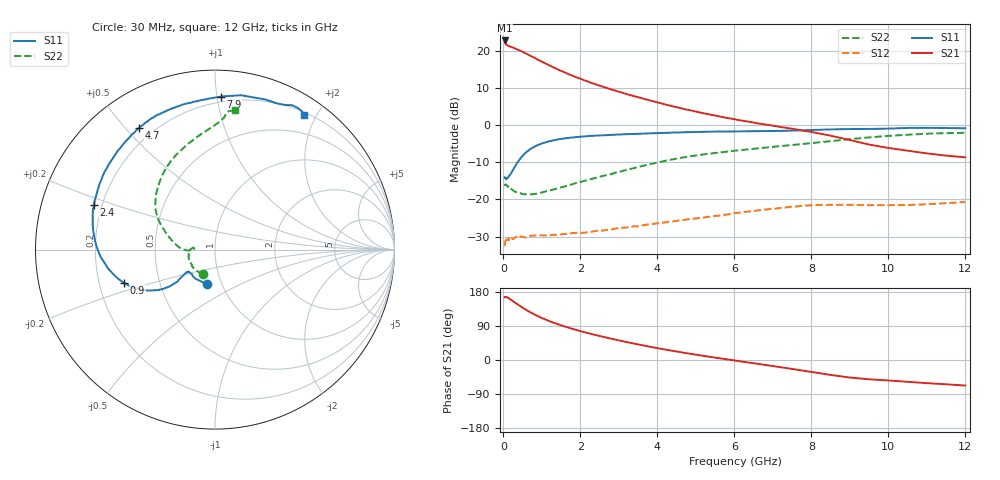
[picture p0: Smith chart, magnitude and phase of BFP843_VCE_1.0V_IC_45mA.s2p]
! Infineon Technologies  Discrete & RF Semiconductors
! BFP843
! VCE =  1.0 V,  IC =  45 mA
! Common Emitter S-Parameters:  Aug 2013
# GHz  S  MA  R  50
!  f  S11  S21  S12  S22
! GHz  MAG  ANG  MAG  ANG  MAG  ANG  MAG  ANG
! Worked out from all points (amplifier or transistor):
!   103 points, 30 MHz to 12 GHz, reference 50 ohm
!   highest |S21| = 22.7 dB at 30 MHz (marker M1)
!   |S21| within 3 dB of that: start of sweep to 485.6 MHz
!   unconditionally stable (mu >= 1): start of sweep to end of sweep
!   at 400 MHz: K = 1.59, MAG = 20.7 dB, |S12| = -30.3 dB
!   at 3.7 GHz: K = 2.03, MAG = 11.1 dB, |S12| = -26.8 dB
!   at 12 GHz: K = 1.54, MAG = 1.7 dB, |S12| = -20.7 dB
!   S11 on the Smith chart (normalised r, x): 30 MHz: 0.85, -0.34; 900 MHz: 0.31, -0.16; 2.4 GHz: 0.17, +0.17; 4.7 GHz: 0.15, +0.54; 7.9 GHz: 0.16, +1.02; 12 GHz: 0.23, +1.84
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0.03  0.1977 -103.8  13.68 165.3  0.0235 32.4  0.1532 -116.7
0.04  0.1933 -116.8  12.95 165.3  0.0256 23.7  0.1576 -132.4
0.05  0.1951 -124.0  12.54 166.7  0.0275 12.4  0.1584 -143.8
0.07  0.1872 -133.8  12.02 166.5  0.0283 18.7  0.1566 -154.8
0.13  0.2009 -140.7  11.6 163.8  0.0287 10.3  0.1484 -171.6
0.35  0.3057 -140.4  10.4 147.9  0.0315 7.5  0.1231 174.8
0.5  0.3869 -144.4  9.605 137.9  0.0312 8.2  0.1178 175.8
0.7  0.4739 -152.2  8.503 125.7  0.0325 8.6  0.1167 177.5
0.9  0.5392 -159.8  7.506 115.3  0.033 9.6  0.1204 179.1
1.2  0.6057 -170.1  6.295 102.3  0.0328 11.7  0.1315 -178.5
1.4  0.6383 -176.3  5.609 94.9  0.0334 13.0  0.1396 -178.0
1.7  0.6715 175.4  4.796 85.0  0.0343 13.8  0.1543 -178.3
2.1  0.7017 166.1  3.986 73.5  0.0357 16.6  0.1772 179.5
2.4  0.7183 159.9  3.514 65.8  0.0377 16.7  0.1948 177.4
3.2  0.7525 144.7  2.599 47.3  0.0418 20.2  0.2493 167.5
4.1  0.7807 130.1  1.95 29.5  0.0485 19.9  0.3218 156.5
4.7  0.7982 122.2  1.634 18.9  0.053 19.1  0.3679 150.4
6.1  0.82 108.7  1.167 -2.7  0.066 15.0  0.4557 135.5
7.9  0.8524 87.9  0.823 -29.9  0.0828 0.8  0.5643 113.6
8.5  0.8721 80.4  0.718 -39.4  0.0847 -5.2  0.6059 104.8
10.5  0.9123 61.8  0.451 -57.6  0.084 -16.9  0.7393 86.0
12  0.9019 56.5  0.368 -67.4  0.0922 -23.5  0.7847 81.8
